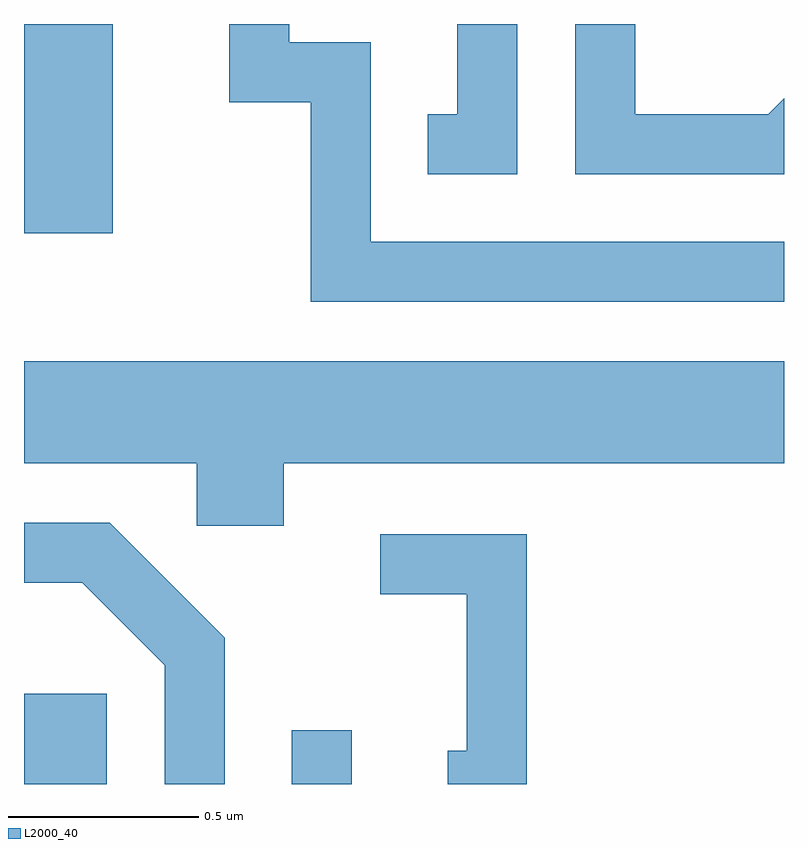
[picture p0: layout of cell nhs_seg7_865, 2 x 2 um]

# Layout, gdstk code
import gdstk
lib = gdstk.Library(unit=1e-6, precision=1e-09)
def R(c, l, rs):  # rectangles x0, y0, x1, y1
    for r in rs: c.add(gdstk.rectangle(r[:2], r[2:], *l))
def P(c, l, *ps):  # polygons
    for p in ps: c.add(gdstk.Polygon(p, *l))
L2000_40 = (2000, 40)

nhs_seg7_865 = lib.new_cell('nhs_seg7_865')
R(nhs_seg7_865, L2000_40, [(191.611,1711.252,191.829,1711.489), (192.316,1711.252,192.474,1711.393), (191.611,1712.701,191.844,1713.252)])
P(nhs_seg7_865, L2000_40, [(193.611,1713.056),(193.569,1713.014),(193.219,1713.014),(193.219,1713.252),(193.061,1713.252),(193.061,1712.856),(193.611,1712.856)],
  [(193.611,1712.679),(192.524,1712.679),(192.524,1713.204),(192.309,1713.204),(192.309,1713.252),(192.151,1713.252),(192.151,1713.046),(192.366,1713.046),(192.366,1712.521),(193.611,1712.521)],
  [(192.909,1713.252),(192.751,1713.252),(192.751,1713.014),(192.673,1713.014),(192.673,1712.856),(192.909,1712.856)],
  [(192.294,1712.096),(193.611,1712.096),(193.611,1712.364),(191.611,1712.364),(191.611,1712.096),(192.066,1712.096),(192.066,1711.931),(192.294,1711.931)],
  [(192.139,1711.637),(191.837,1711.939),(191.611,1711.939),(191.611,1711.781),(191.764,1711.781),(191.981,1711.564),(191.981,1711.252),(192.139,1711.252)],
  [(192.934,1711.909),(192.548,1711.909),(192.548,1711.751),(192.776,1711.751),(192.776,1711.339),(192.726,1711.339),(192.726,1711.252),(192.934,1711.252)])

lib.write_gds('nhs_seg7_865.gds')
